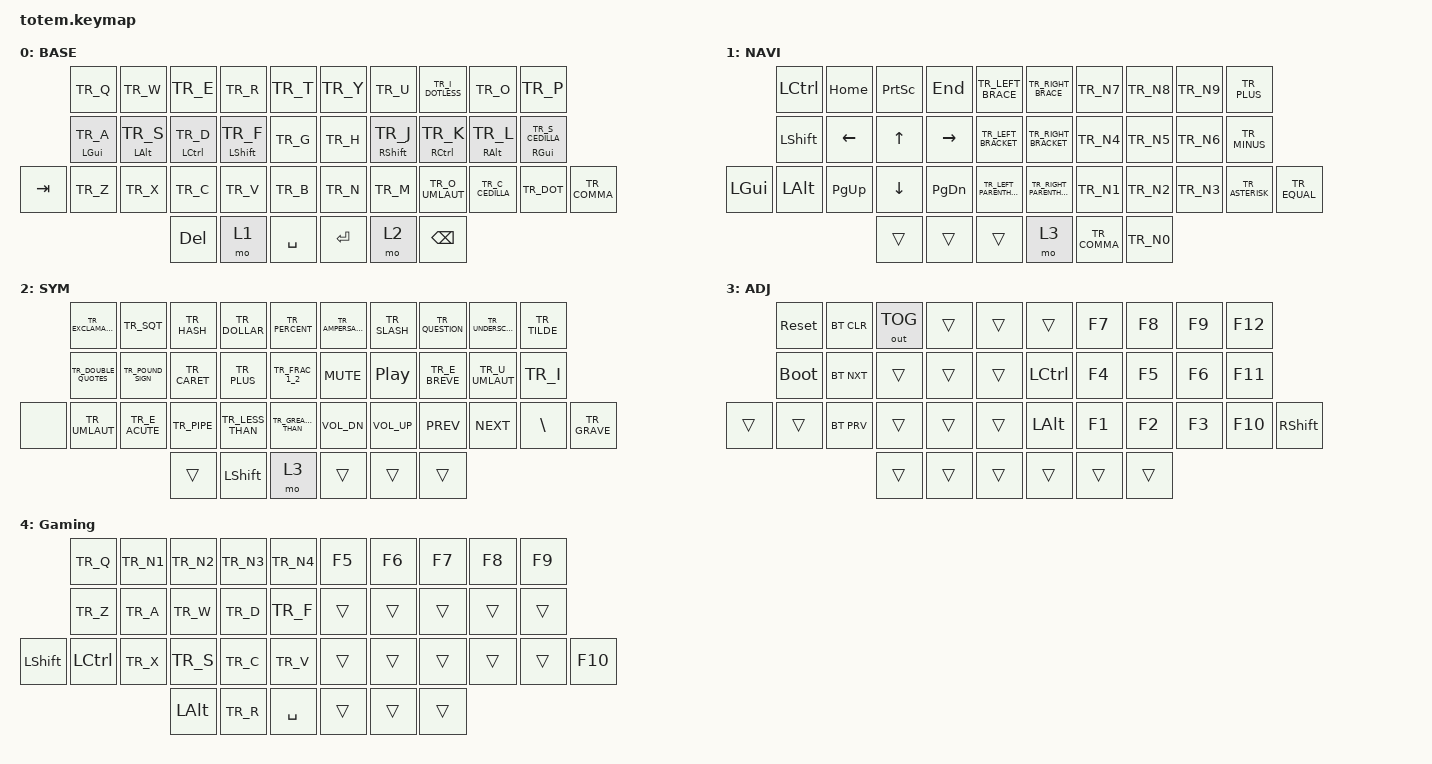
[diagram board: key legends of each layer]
//
//                                                        ▀▀▀▀▀     ▀▀▀▀▀          ▀▀█▀▀
//                                                        ▄▀▀▀▄  ▄  ▄▀▀▀▄  ▄  ▄▀▀▀▄  █  ▄▀▀▀▄
//                                                        █   █  █  █   █  █  █   █  █  █   █
//                                                         ▀▀▀   █   ▀▀▀   █   ▀▀▀   ▀   ▀▀▀
//                                                               █      ▄▄▄█▄▄▄    █   █  
//                                                               ▀      █  █  █     █▄█
//                                                             ▀▀▀▀▀    █  █  █      ▀
//                                                                      ▀  ▀  ▀
//
// ▄▄▄▄▄▄▄▄▄▄▄▄▄▄▄▄▄▄▄▄▄▄▄▄▄▄▄▄▄▄▄▄▄▄▄▄▄▄▄▄▄▄▄▄▄▄▄▄▄▄▄▄▄▄▄▄▄▄▄▄▄▄▄▄▄▄▄▄▄▄▄▄▄▄▄▄▄▄▄▄▄▄▄▄▄▄▄▄▄▄▄▄▄▄▄▄▄▄▄▄▄▄▄▄▄▄▄▄▄▄▄▄▄▄▄▄▄▄▄▄▄▄▄▄▄▄▄▄▄▄▄▄▄▄▄▄▄▄▄▄▄▄▄▄▄▄▄▄▄

#include <behaviors.dtsi>
#include <dt-bindings/zmk/bt.h>
#include <dt-bindings/zmk/keys.h>
#include <dt-bindings/zmk/outputs.h>
#include "keys_tr.h"

#define BASE 0
#define NAV  1
#define SYM  2
#define ADJ  3
#define TVP1 4
#define TVP2 5

&mt {
    quick-tap-ms = <100>;
    require-prior-idle-ms = <125>;
    flavor = "tap-preferred";
    tapping-term-ms = <170>;
};

/ {
    combos {
        compatible = "zmk,combos";

        combo_esc {
            timeout-ms = <50>;
            key-positions = <0 1>;
            bindings = <&kp ESC>;
        };

        combo_tvp {
            timeout-ms = <100>;
            key-positions = <16 17 18>;
            bindings = <&tog 4>;
        };

        tr_e_breve {
            bindings = <&kp TR_E_BREVE>;
            key-positions = <5 6>;
        };

        tr_u_umlaut {
            bindings = <&kp TR_U_UMLAUT>;
            key-positions = <6 7>;
        };

        tr_i_dot {
            bindings = <&kp TR_I>;
            key-positions = <7 8>;
        };

        move_line_up {
            bindings = <&kp LS(LA(UP))>;
            key-positions = <2 3>;
        };

        move_line_down {
            bindings = <&kp LS(LA(DOWN))>;
            key-positions = <23 24>;
        };
    };

    macros {
        gif: gif {
            compatible = "zmk,behavior-macro";
            #binding-cells = <0>;
            bindings =
                <&macro_press>,
                <&kp LSHFT>,
                <&macro_tap>,
                <&kp N2>,
                <&macro_release>,
                <&kp LSHFT>,
                <&macro_tap>,
                <&kp G &kp I &kp F>;
        };
    };

    keymap {
        compatible = "zmk,keymap";

        // ▄▄▄▄▄▄▄▄▄▄▄▄▄▄▄▄▄▄▄▄▄▄▄▄▄▄▄▄▄▄▄▄▄▄▄▄▄▄▄▄▄▄▄▄▄▄▄▄▄▄▄▄▄▄▄▄▄▄▄▄▄▄▄▄▄▄▄▄▄▄▄▄▄▄▄▄▄▄▄▄▄▄▄▄▄▄▄▄▄▄▄▄▄▄▄▄▄▄▄▄▄▄▄▄▄▄▄▄▄▄▄▄▄▄▄▄▄▄▄▄▄▄▄▄▄▄▄▄▄▄▄▄▄▄▄▄▄▄▄▄▄▄▄▄▄▄▄▄▄

        base_layer {
            // ┏━━━━━━━━━━━━━━━━━━━━━━━━━━━━━━━━━━━━━━━┓

            display-name = "BASE";

            // ┗━━━━━━━━━━━━━━━━━━━━━━━━━━━━━━━━━━━━━━━┛
            //             ┏━━━━━━━━━━━┳━━━━━━━━━━━┳━━━━━━━━━━━┳━━━━━━━━━━━┳━━━━━━━━━━━┓   ┏━━━━━━━━━━━┳━━━━━━━━━━━┳━━━━━━━━━━━┳━━━━━━━━━━━┳━━━━━━━━━━━┓
            //             ┃     Q     ┃     W     ┃     F     ┃     P     ┃     G     ┃   ┃     J     ┃     L     ┃     U     ┃     Y     ┃     ;     ┃
            //             ┣━━━━━━━━━━━╋━━━━━━━━━━━╋━━━━━━━━━━━╋━━━━━━━━━━━╋━━━━━━━━━━━┫   ┣━━━━━━━━━━━╋━━━━━━━━━━━╋━━━━━━━━━━━╋━━━━━━━━━━━╋━━━━━━━━━━━┫
            //             ┃     A     ┃     R     ┃     S     ┃     T     ┃     D     ┃   ┃     H     ┃     N     ┃     E     ┃     I     ┃     O     ┃
            // ┏━━━━━━━━━━━╋━━━━━━━━━━━╋━━━━━━━━━━━╋━━━━━━━━━━━╋━━━━━━━━━━━╋━━━━━━━━━━━┫   ┣━━━━━━━━━━━╋━━━━━━━━━━━╋━━━━━━━━━━━╋━━━━━━━━━━━╋━━━━━━━━━━━╋━━━━━━━━━━━┓
            // ┃     Q     ┃     Z     ┃     X     ┃     C     ┃     V     ┃     B     ┃   ┃     K     ┃     M     ┃     ,     ┃     .     ┃     /     ┃     \     ┃
            // ┗━━━━━━━━━━━┻━━━━━━━━━━━┻━━━━━━━━━━━╋━━━━━━━━━━━╋━━━━━━━━━━━╋━━━━━━━━━━━┫   ┣━━━━━━━━━━━╋━━━━━━━━━━━╋━━━━━━━━━━━╋━━━━━━━━━━━┻━━━━━━━━━━━┻━━━━━━━━━━━┛
            //                                     ┃    DEL    ┃    TAB    ┃    SPC    ┃   ┃   ENTER   ┃           ┃   BSPC    ┃
            //                                     ┗━━━━━━━━━━━┻━━━━━━━━━━━┻━━━━━━━━━━━┛   ┗━━━━━━━━━━━┻━━━━━━━━━━━┻━━━━━━━━━━━┛

            bindings = <
         &kp TR_Q           &kp TR_W       &kp TR_E        &kp TR_R        &kp TR_T     &kp TR_Y  &kp TR_U        &kp TR_I_DOTLESS  &kp TR_O          &kp TR_P
         &mt LEFT_GUI TR_A  &mt LALT TR_S  &mt LCTRL TR_D  &mt LSHFT TR_F  &kp TR_G     &kp TR_H  &mt RSHFT TR_J  &mt RCTRL TR_K    &mt RALT TR_L     &mt RGUI TR_S_CEDILLA
&kp TAB  &kp TR_Z           &kp TR_X       &kp TR_C        &kp TR_V        &kp TR_B     &kp TR_N  &kp TR_M        &kp TR_O_UMLAUT   &kp TR_C_CEDILLA  &kp TR_DOT             &kp TR_COMMA
                                           &kp DEL         &mo 1           &kp SPACE    &kp RET   &mo 2           &kp BSPC
            >;
        };

        // ▄▄▄▄▄▄▄▄▄▄▄▄▄▄▄▄▄▄▄▄▄▄▄▄▄▄▄▄▄▄▄▄▄▄▄▄▄▄▄▄▄▄▄▄▄▄▄▄▄▄▄▄▄▄▄▄▄▄▄▄▄▄▄▄▄▄▄▄▄▄▄▄▄▄▄▄▄▄▄▄▄▄▄▄▄▄▄▄▄▄▄▄▄▄▄▄▄▄▄▄▄▄▄▄▄▄▄▄▄▄▄▄▄▄▄▄▄▄▄▄▄▄▄▄▄▄▄▄▄▄▄▄▄▄▄▄▄▄▄▄▄▄▄▄▄▄▄▄▄

        nav_layer {
            // ┏━━━━━━━━━━━━━━━━━━━━━━━━━━━━━━━━━━━━━━━┓

            display-name = "NAVI";

            // ┗━━━━━━━━━━━━━━━━━━━━━━━━━━━━━━━━━━━━━━━┛
            //             ┏━━━━━━━━━━━┳━━━━━━━━━━━┳━━━━━━━━━━━┳━━━━━━━━━━━┳━━━━━━━━━━━┓   ┏━━━━━━━━━━━┳━━━━━━━━━━━┳━━━━━━━━━━━┳━━━━━━━━━━━┳━━━━━━━━━━━┓
            //             ┃           ┃           ┃     UP    ┃           ┃     {     ┃   ┃     }     ┃     7     ┃     8     ┃     9     ┃     +     ┃
            //             ┣━━━━━━━━━━━╋━━━━━━━━━━━╋━━━━━━━━━━━╋━━━━━━━━━━━╋━━━━━━━━━━━┫   ┣━━━━━━━━━━━╋━━━━━━━━━━━╋━━━━━━━━━━━╋━━━━━━━━━━━╋━━━━━━━━━━━┫
            //             ┃   SHIFT   ┃   LEFT    ┃    DOWN   ┃   RIGHT   ┃     [     ┃   ┃     ]     ┃     4     ┃     5     ┃     6     ┃     -     ┃
            // ┏━━━━━━━━━━━╋━━━━━━━━━━━╋━━━━━━━━━━━╋━━━━━━━━━━━╋━━━━━━━━━━━╋━━━━━━━━━━━┫   ┣━━━━━━━━━━━╋━━━━━━━━━━━╋━━━━━━━━━━━╋━━━━━━━━━━━╋━━━━━━━━━━━╋━━━━━━━━━━━┓
            // ┃           ┃           ┃   P UP    ┃  C LOCK   ┃  P DOWN   ┃     (     ┃   ┃     )     ┃     1     ┃     2     ┃     3     ┃     *     ┃           ┃
            // ┗━━━━━━━━━━━┻━━━━━━━━━━━┻━━━━━━━━━━━╋━━━━━━━━━━━╋━━━━━━━━━━━╋━━━━━━━━━━━┫   ┣━━━━━━━━━━━╋━━━━━━━━━━━╋━━━━━━━━━━━╋━━━━━━━━━━━┻━━━━━━━━━━━┻━━━━━━━━━━━┛
            //                                     ┃           ┃    TAB    ┃    SPC    ┃   ┃    DEL    ┃     0     ┃           ┃
            //                                     ┗━━━━━━━━━━━┻━━━━━━━━━━━┻━━━━━━━━━━━┛   ┗━━━━━━━━━━━┻━━━━━━━━━━━┻━━━━━━━━━━━┛

            bindings = <
              &kp LEFT_CONTROL  &kp HOME   &kp PRINTSCREEN  &kp END    &kp TR_LEFT_BRACE          &kp TR_RIGHT_BRACE        &kp TR_N7     &kp TR_N8  &kp TR_N9  &kp TR_PLUS
              &kp LSHFT         &kp LEFT   &kp UP_ARROW     &kp RIGHT  &kp TR_LEFT_BRACKET        &kp TR_RIGHT_BRACKET      &kp TR_N4     &kp TR_N5  &kp TR_N6  &kp TR_MINUS
&kp LEFT_GUI  &kp LEFT_ALT      &kp PG_UP  &kp DOWN_ARROW   &kp PG_DN  &kp TR_LEFT_PARENTHESIS    &kp TR_RIGHT_PARENTHESIS  &kp TR_N1     &kp TR_N2  &kp TR_N3  &kp TR_ASTERISK  &kp TR_EQUAL
                                           &trans           &trans     &trans                     &mo 3                     &kp TR_COMMA  &kp TR_N0
            >;
        };

        // ▄▄▄▄▄▄▄▄▄▄▄▄▄▄▄▄▄▄▄▄▄▄▄▄▄▄▄▄▄▄▄▄▄▄▄▄▄▄▄▄▄▄▄▄▄▄▄▄▄▄▄▄▄▄▄▄▄▄▄▄▄▄▄▄▄▄▄▄▄▄▄▄▄▄▄▄▄▄▄▄▄▄▄▄▄▄▄▄▄▄▄▄▄▄▄▄▄▄▄▄▄▄▄▄▄▄▄▄▄▄▄▄▄▄▄▄▄▄▄▄▄▄▄▄▄▄▄▄▄▄▄▄▄▄▄▄▄▄▄▄▄▄▄▄▄▄▄▄▄

        sim_layer {
            // ┏━━━━━━━━━━━━━━━━━━━━━━━━━━━━━━━━━━━━━━━┓

            display-name = "SYM";

            // ┗━━━━━━━━━━━━━━━━━━━━━━━━━━━━━━━━━━━━━━━┛
            //             ┏━━━━━━━━━━━┳━━━━━━━━━━━┳━━━━━━━━━━━┳━━━━━━━━━━━┳━━━━━━━━━━━┓   ┏━━━━━━━━━━━┳━━━━━━━━━━━┳━━━━━━━━━━━┳━━━━━━━━━━━┳━━━━━━━━━━━┓
            //             ┃     !     ┃     @     ┃     #     ┃     $     ┃     %     ┃   ┃     ˆ     ┃     &     ┃     Ü     ┃     '     ┃     "     ┃
            //             ┣━━━━━━━━━━━╋━━━━━━━━━━━╋━━━━━━━━━━━╋━━━━━━━━━━━╋━━━━━━━━━━━┫   ┣━━━━━━━━━━━╋━━━━━━━━━━━╋━━━━━━━━━━━╋━━━━━━━━━━━╋━━━━━━━━━━━┫
            //             ┃     Ä     ┃           ┃    SZ     ┃           ┃           ┃   ┃   MUTE    ┃   YEN     ┃   EURO    ┃  POUND    ┃     Ö     ┃
            // ┏━━━━━━━━━━━╋━━━━━━━━━━━╋━━━━━━━━━━━╋━━━━━━━━━━━╋━━━━━━━━━━━╋━━━━━━━━━━━┫   ┣━━━━━━━━━━━╋━━━━━━━━━━━╋━━━━━━━━━━━╋━━━━━━━━━━━╋━━━━━━━━━━━╋━━━━━━━━━━━┓
            // ┃           ┃  EMAIL1   ┃  EMAIL2   ┃           ┃           ┃           ┃   ┃   VOL-    ┃   VOL+    ┃   LAST    ┃   NEXT    ┃     \     ┃           ┃
            // ┗━━━━━━━━━━━┻━━━━━━━━━━━┻━━━━━━━━━━━╋━━━━━━━━━━━╋━━━━━━━━━━━╋━━━━━━━━━━━┫   ┣━━━━━━━━━━━╋━━━━━━━━━━━╋━━━━━━━━━━━╋━━━━━━━━━━━┻━━━━━━━━━━━┻━━━━━━━━━━━┛
            //                                     ┃           ┃    GIF    ┃    ADJ    ┃   ┃           ┃           ┃           ┃
            //                                     ┗━━━━━━━━━━━┻━━━━━━━━━━━┻━━━━━━━━━━━┛   ┗━━━━━━━━━━━┻━━━━━━━━━━━┻━━━━━━━━━━━┛

            bindings = <
       &kp TR_EXCLAMATION    &kp TR_SQT         &kp TR_HASH   &kp TR_DOLLAR     &kp TR_PERCENT         &kp TR_AMPERSAND  &kp TR_SLASH  &kp TR_QUESTION  &kp TR_UNDERSCORE  &kp TR_TILDE
       &kp TR_DOUBLE_QUOTES  &kp TR_POUND_SIGN  &kp TR_CARET  &kp TR_PLUS       &kp TR_FRAC_1_2        &kp C_MUTE        &kp C_PP      &kp TR_E_BREVE   &kp TR_U_UMLAUT    &kp TR_I
&none  &kp TR_UMLAUT         &kp TR_E_ACUTE     &kp TR_PIPE   &kp TR_LESS_THAN  &kp TR_GREATER_THAN    &kp C_VOL_DN      &kp C_VOL_UP  &kp C_PREV       &kp C_NEXT         &kp BSLH      &kp TR_GRAVE
                                                &trans        &kp LEFT_SHIFT    &mo 3                  &trans            &trans        &trans
            >;
        };

        // ▄▄▄▄▄▄▄▄▄▄▄▄▄▄▄▄▄▄▄▄▄▄▄▄▄▄▄▄▄▄▄▄▄▄▄▄▄▄▄▄▄▄▄▄▄▄▄▄▄▄▄▄▄▄▄▄▄▄▄▄▄▄▄▄▄▄▄▄▄▄▄▄▄▄▄▄▄▄▄▄▄▄▄▄▄▄▄▄▄▄▄▄▄▄▄▄▄▄▄▄▄▄▄▄▄▄▄▄▄▄▄▄▄▄▄▄▄▄▄▄▄▄▄▄▄▄▄▄▄▄▄▄▄▄▄▄▄▄▄▄▄▄▄▄▄▄▄▄▄

        adjust_layer {
            // ┏━━━━━━━━━━━━━━━━━━━━━━━━━━━━━━━━━━━━━━━┓

            display-name = "ADJ";

            // ┗━━━━━━━━━━━━━━━━━━━━━━━━━━━━━━━━━━━━━━━┛
            //             ┏━━━━━━━━━━━┳━━━━━━━━━━━┳━━━━━━━━━━━┳━━━━━━━━━━━┳━━━━━━━━━━━┓   ┏━━━━━━━━━━━┳━━━━━━━━━━━┳━━━━━━━━━━━┳━━━━━━━━━━━┳━━━━━━━━━━━┓
            //             ┃   RESET   ┃ BT CLEAR  ┃  OUT TOG  ┃           ┃           ┃   ┃           ┃    F7     ┃    F8     ┃    F9     ┃    F12    ┃
            //             ┣━━━━━━━━━━━╋━━━━━━━━━━━╋━━━━━━━━━━━╋━━━━━━━━━━━╋━━━━━━━━━━━┫   ┣━━━━━━━━━━━╋━━━━━━━━━━━╋━━━━━━━━━━━╋━━━━━━━━━━━╋━━━━━━━━━━━┫
            //             ┃ BOOTLOAD  ┃ BT NEXT   ┃           ┃           ┃           ┃   ┃           ┃    F4     ┃    F5     ┃    F6     ┃    F11    ┃
            // ┏━━━━━━━━━━━╋━━━━━━━━━━━╋━━━━━━━━━━━╋━━━━━━━━━━━╋━━━━━━━━━━━╋━━━━━━━━━━━┫   ┣━━━━━━━━━━━╋━━━━━━━━━━━╋━━━━━━━━━━━╋━━━━━━━━━━━╋━━━━━━━━━━━╋━━━━━━━━━━━┓
            // ┃           ┃           ┃ BT PREV   ┃           ┃           ┃           ┃   ┃           ┃    F1     ┃    F2     ┃    F3     ┃    F10    ┃           ┃
            // ┗━━━━━━━━━━━┻━━━━━━━━━━━┻━━━━━━━━━━━╋━━━━━━━━━━━╋━━━━━━━━━━━╋━━━━━━━━━━━┫   ┣━━━━━━━━━━━╋━━━━━━━━━━━╋━━━━━━━━━━━╋━━━━━━━━━━━┻━━━━━━━━━━━┻━━━━━━━━━━━┛
            //                                     ┃           ┃           ┃           ┃   ┃           ┃           ┃           ┃
            //                                     ┗━━━━━━━━━━━┻━━━━━━━━━━━┻━━━━━━━━━━━┛   ┗━━━━━━━━━━━┻━━━━━━━━━━━┻━━━━━━━━━━━┛

            bindings = <
        &sys_reset   &bt BT_CLR  &out OUT_TOG  &trans  &trans    &trans            &kp F7  &kp F8  &kp F9  &kp F12
        &bootloader  &bt BT_NXT  &trans        &trans  &trans    &kp LEFT_CONTROL  &kp F4  &kp F5  &kp F6  &kp F11
&trans  &trans       &bt BT_PRV  &trans        &trans  &trans    &kp LEFT_ALT      &kp F1  &kp F2  &kp F3  &kp F10  &kp RSHIFT
                                 &trans        &trans  &trans    &trans            &trans  &trans
            >;
        };

        // ▄▄▄▄▄▄▄▄▄▄▄▄▄▄▄▄▄▄▄▄▄▄▄▄▄▄▄▄▄▄▄▄▄▄▄▄▄▄▄▄▄▄▄▄▄▄▄▄▄▄▄▄▄▄▄▄▄▄▄▄▄▄▄▄▄▄▄▄▄▄▄▄▄▄▄▄▄▄▄▄▄▄▄▄▄▄▄▄▄▄▄▄▄▄▄▄▄▄▄▄▄▄▄▄▄▄▄▄▄▄▄▄▄▄▄▄▄▄▄▄▄▄▄▄▄▄▄▄▄▄▄▄▄▄▄▄▄▄▄▄▄▄▄▄▄▄▄▄▄
        // ▄▄▄▄▄▄▄▄▄▄▄▄▄▄▄▄▄▄▄▄▄▄▄▄▄▄▄▄▄▄▄▄▄▄▄▄▄▄▄▄▄▄▄▄▄▄▄▄▄▄▄▄▄▄▄▄▄▄▄▄▄▄▄▄▄▄▄▄▄▄▄▄▄▄▄▄▄▄▄▄▄▄▄▄▄▄▄▄▄▄▄▄▄▄▄▄▄▄▄▄▄▄▄▄▄▄▄▄▄▄▄▄▄▄▄▄▄▄▄▄▄▄▄▄▄▄▄▄▄▄▄▄▄▄▄▄▄▄▄▄▄▄▄▄▄▄▄▄▄

        Gaming {
            bindings = <
                &kp TR_Q   &kp TR_N1  &kp TR_N2     &kp TR_N3  &kp TR_N4    &kp F5  &kp F6  &kp F7  &kp F8  &kp F9
                &kp TR_Z   &kp TR_A   &kp TR_W      &kp TR_D   &kp TR_F     &trans  &trans  &trans  &trans  &trans
&kp LEFT_SHIFT  &kp LCTRL  &kp TR_X   &kp TR_S      &kp TR_C   &kp TR_V     &trans  &trans  &trans  &trans  &trans  &kp F10
                                      &kp LEFT_ALT  &kp TR_R   &kp SPACE    &trans  &trans  &trans
            >;
        };
    };
};
